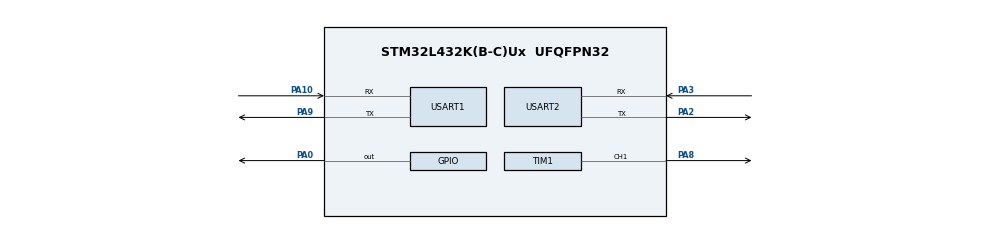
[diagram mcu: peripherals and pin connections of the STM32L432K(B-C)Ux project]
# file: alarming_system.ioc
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Mcu.Family=STM32L4
Mcu.Name=STM32L432K(B-C)Ux
Mcu.Package=UFQFPN32
NVIC.PriorityGroup=NVIC_PRIORITYGROUP_4
PA0.Signal=GPIO_Output
PA10.Mode=Asynchronous
PA10.Signal=USART1_RX
PA13\ (JTMS-SWDIO).Mode=Serial_Wire
PA13\ (JTMS-SWDIO).Signal=SYS_JTMS-SWDIO
PA14\ (JTCK-SWCLK).Mode=Serial_Wire
PA14\ (JTCK-SWCLK).Signal=SYS_JTCK-SWCLK
PA2.Mode=Asynchronous
PA2.Signal=USART2_TX
PA3.Mode=Asynchronous
PA3.Signal=USART2_RX
PA8.Signal=S_TIM1_CH1
PA9.Mode=Asynchronous
PA9.Signal=USART1_TX
PC14-OSC32_IN\ (PC14).Mode=LSE-External-Oscillator
PC14-OSC32_IN\ (PC14).Signal=RCC_OSC32_IN
PC15-OSC32_OUT\ (PC15).Mode=LSE-External-Oscillator
PC15-OSC32_OUT\ (PC15).Signal=RCC_OSC32_OUT
ProjectManager.HeapSize=0x200
ProjectManager.StackSize=0x400
ProjectManager.TargetToolchain=MDK-ARM V5.32
RCC.HSE_VALUE=8000000
RCC.HSI48_VALUE=48000000
RCC.HSI_VALUE=16000000
RCC.MSI_VALUE=4000000
RCC.VCOOutputFreq_Value=32000000
SH.S_TIM1_CH1.0=TIM1_CH1,PWM Generation1 CH1
TIM1.AutoReloadPreload=TIM_AUTORELOAD_PRELOAD_ENABLE
TIM1.Channel-PWM\ Generation1\ CH1=TIM_CHANNEL_1
TIM1.Period=100
TIM1.Prescaler=31
USART1.VirtualMode-Asynchronous=VM_ASYNC
USART2.VirtualMode-Asynchronous=VM_ASYNC
VP_TIM1_VS_ClockSourceINT.Mode=Internal
board=custom

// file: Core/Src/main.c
/* USER CODE BEGIN Header */
/**
  ******************************************************************************
  * @file           : main.c
  * @brief          : Main program body
  ******************************************************************************
  * @attention
  *
  * <h2><center>&copy; Copyright (c) 2022 STMicroelectronics.
  * All rights reserved.</center></h2>
  *
  * This software component is licensed by ST under BSD 3-Clause license,
  * the "License"; You may not use this file except in compliance with the
  * License. You may obtain a copy of the License at:
  *                        opensource.org/licenses/BSD-3-Clause
  *
  ******************************************************************************
  */
/* USER CODE END Header */
#include "main.h"

TIM_HandleTypeDef htim1;

UART_HandleTypeDef huart1;
UART_HandleTypeDef huart2;

void SystemClock_Config(void);
static void MX_GPIO_Init(void);
static void MX_TIM1_Init(void);
static void MX_USART1_UART_Init(void);
static void MX_USART2_UART_Init(void);

int main(void)
{

  /* MCU Configuration--------------------------------------------------------*/

  /* Reset of all peripherals, Initializes the Flash interface and the Systick. */
  HAL_Init();

  /* Configure the system clock */
  SystemClock_Config();

  /* Initialize all configured peripherals */
  MX_GPIO_Init();
  MX_TIM1_Init();
  MX_USART1_UART_Init();
  MX_USART2_UART_Init();
  /* USER CODE BEGIN 2 */

	// start the PWM signal generation on the intended timer channel
		HAL_TIM_PWM_Start(&htim1, TIM_CHANNEL_1);

	// set the Capture/Compare Register (CCR) for adjusting the pulse width (duty cycle)
		TIM1->CCR1 =50;
		TIM1->PSC= 0;
		uint8_t message[1]=" ";
		int counter=0;
  /* USER CODE END 2 */

  /* Infinite loop */
  /* USER CODE BEGIN WHILE */
  while (1)
  {

		HAL_UART_Receive(&huart1,message,sizeof(message),100);

		while (message[0]=='B'){
					TIM1->PSC= SystemCoreClock/((500*100-1));
					HAL_Delay(200);

					TIM1->PSC= SystemCoreClock/((820*100-1));
					HAL_Delay(200);
					counter++;
						//HAL_Delay(10000);
					if (counter==8)
						{
								message[0]=' ';
								TIM1->PSC= 0;
								counter=0;
						}
			}
		if (message[0]=='R'){
						HAL_GPIO_WritePin(GPIOA, GPIO_PIN_0, GPIO_PIN_SET);
						HAL_Delay(3000);
						HAL_GPIO_WritePin(GPIOA, GPIO_PIN_0, GPIO_PIN_RESET);
						message[0]=' ';
			}

		//HAL_UART_Transmit(&huart2,message,sizeof(message),100);
    /* USER CODE END WHILE */

  }
}

void SystemClock_Config(void)
{
  RCC_OscInitTypeDef RCC_OscInitStruct = {0};
  RCC_ClkInitTypeDef RCC_ClkInitStruct = {0};

  /** Configure the main internal regulator output voltage
  */
  if (HAL_PWREx_ControlVoltageScaling(PWR_REGULATOR_VOLTAGE_SCALE1) != HAL_OK)
  {
    Error_Handler();
  }
  /** Configure LSE Drive Capability
  */
  HAL_PWR_EnableBkUpAccess();
  __HAL_RCC_LSEDRIVE_CONFIG(RCC_LSEDRIVE_LOW);
  /** Initializes the RCC Oscillators according to the specified parameters
  * in the RCC_OscInitTypeDef structure.
  */
  RCC_OscInitStruct.OscillatorType = RCC_OSCILLATORTYPE_LSE|RCC_OSCILLATORTYPE_MSI;
  RCC_OscInitStruct.LSEState = RCC_LSE_ON;
  RCC_OscInitStruct.MSIState = RCC_MSI_ON;
  RCC_OscInitStruct.MSICalibrationValue = 0;
  RCC_OscInitStruct.MSIClockRange = RCC_MSIRANGE_6;
  RCC_OscInitStruct.PLL.PLLState = RCC_PLL_NONE;
  if (HAL_RCC_OscConfig(&RCC_OscInitStruct) != HAL_OK)
  {
    Error_Handler();
  }
  /** Initializes the CPU, AHB and APB buses clocks
  */
  RCC_ClkInitStruct.ClockType = RCC_CLOCKTYPE_HCLK|RCC_CLOCKTYPE_SYSCLK
                              |RCC_CLOCKTYPE_PCLK1|RCC_CLOCKTYPE_PCLK2;
  RCC_ClkInitStruct.SYSCLKSource = RCC_SYSCLKSOURCE_MSI;
  RCC_ClkInitStruct.AHBCLKDivider = RCC_SYSCLK_DIV1;
  RCC_ClkInitStruct.APB1CLKDivider = RCC_HCLK_DIV1;
  RCC_ClkInitStruct.APB2CLKDivider = RCC_HCLK_DIV1;

  if (HAL_RCC_ClockConfig(&RCC_ClkInitStruct, FLASH_LATENCY_0) != HAL_OK)
  {
    Error_Handler();
  }
  /** Enable MSI Auto calibration
  */
  HAL_RCCEx_EnableMSIPLLMode();
}

static void MX_TIM1_Init(void)
{

  TIM_ClockConfigTypeDef sClockSourceConfig = {0};
  TIM_MasterConfigTypeDef sMasterConfig = {0};
  TIM_OC_InitTypeDef sConfigOC = {0};
  TIM_BreakDeadTimeConfigTypeDef sBreakDeadTimeConfig = {0};

  htim1.Instance = TIM1;
  htim1.Init.Prescaler = 31;
  htim1.Init.CounterMode = TIM_COUNTERMODE_UP;
  htim1.Init.Period = 100;
  htim1.Init.ClockDivision = TIM_CLOCKDIVISION_DIV1;
  htim1.Init.RepetitionCounter = 0;
  htim1.Init.AutoReloadPreload = TIM_AUTORELOAD_PRELOAD_ENABLE;
  if (HAL_TIM_Base_Init(&htim1) != HAL_OK)
  {
    Error_Handler();
  }
  sClockSourceConfig.ClockSource = TIM_CLOCKSOURCE_INTERNAL;
  if (HAL_TIM_ConfigClockSource(&htim1, &sClockSourceConfig) != HAL_OK)
  {
    Error_Handler();
  }
  if (HAL_TIM_PWM_Init(&htim1) != HAL_OK)
  {
    Error_Handler();
  }
  sMasterConfig.MasterOutputTrigger = TIM_TRGO_RESET;
  sMasterConfig.MasterOutputTrigger2 = TIM_TRGO2_RESET;
  sMasterConfig.MasterSlaveMode = TIM_MASTERSLAVEMODE_DISABLE;
  if (HAL_TIMEx_MasterConfigSynchronization(&htim1, &sMasterConfig) != HAL_OK)
  {
    Error_Handler();
  }
  sConfigOC.OCMode = TIM_OCMODE_PWM1;
  sConfigOC.Pulse = 0;
  sConfigOC.OCPolarity = TIM_OCPOLARITY_HIGH;
  sConfigOC.OCNPolarity = TIM_OCNPOLARITY_HIGH;
  sConfigOC.OCFastMode = TIM_OCFAST_DISABLE;
  sConfigOC.OCIdleState = TIM_OCIDLESTATE_RESET;
  sConfigOC.OCNIdleState = TIM_OCNIDLESTATE_RESET;
  if (HAL_TIM_PWM_ConfigChannel(&htim1, &sConfigOC, TIM_CHANNEL_1) != HAL_OK)
  {
    Error_Handler();
  }
  sBreakDeadTimeConfig.OffStateRunMode = TIM_OSSR_DISABLE;
  sBreakDeadTimeConfig.OffStateIDLEMode = TIM_OSSI_DISABLE;
  sBreakDeadTimeConfig.LockLevel = TIM_LOCKLEVEL_OFF;
  sBreakDeadTimeConfig.DeadTime = 0;
  sBreakDeadTimeConfig.BreakState = TIM_BREAK_DISABLE;
  sBreakDeadTimeConfig.BreakPolarity = TIM_BREAKPOLARITY_HIGH;
  sBreakDeadTimeConfig.BreakFilter = 0;
  sBreakDeadTimeConfig.Break2State = TIM_BREAK2_DISABLE;
  sBreakDeadTimeConfig.Break2Polarity = TIM_BREAK2POLARITY_HIGH;
  sBreakDeadTimeConfig.Break2Filter = 0;
  sBreakDeadTimeConfig.AutomaticOutput = TIM_AUTOMATICOUTPUT_DISABLE;
  if (HAL_TIMEx_ConfigBreakDeadTime(&htim1, &sBreakDeadTimeConfig) != HAL_OK)
  {
    Error_Handler();
  }
  HAL_TIM_MspPostInit(&htim1);

}

static void MX_USART1_UART_Init(void)
{

  huart1.Instance = USART1;
  huart1.Init.BaudRate = 115200;
  huart1.Init.WordLength = UART_WORDLENGTH_8B;
  huart1.Init.StopBits = UART_STOPBITS_1;
  huart1.Init.Parity = UART_PARITY_NONE;
  huart1.Init.Mode = UART_MODE_TX_RX;
  huart1.Init.HwFlowCtl = UART_HWCONTROL_NONE;
  huart1.Init.OverSampling = UART_OVERSAMPLING_16;
  huart1.Init.OneBitSampling = UART_ONE_BIT_SAMPLE_DISABLE;
  huart1.AdvancedInit.AdvFeatureInit = UART_ADVFEATURE_NO_INIT;
  if (HAL_UART_Init(&huart1) != HAL_OK)
  {
    Error_Handler();
  }

}

static void MX_USART2_UART_Init(void)
{

  huart2.Instance = USART2;
  huart2.Init.BaudRate = 115200;
  huart2.Init.WordLength = UART_WORDLENGTH_8B;
  huart2.Init.StopBits = UART_STOPBITS_1;
  huart2.Init.Parity = UART_PARITY_NONE;
  huart2.Init.Mode = UART_MODE_TX_RX;
  huart2.Init.HwFlowCtl = UART_HWCONTROL_NONE;
  huart2.Init.OverSampling = UART_OVERSAMPLING_16;
  huart2.Init.OneBitSampling = UART_ONE_BIT_SAMPLE_DISABLE;
  huart2.AdvancedInit.AdvFeatureInit = UART_ADVFEATURE_NO_INIT;
  if (HAL_UART_Init(&huart2) != HAL_OK)
  {
    Error_Handler();
  }

}

static void MX_GPIO_Init(void)
{
  GPIO_InitTypeDef GPIO_InitStruct = {0};

  /* GPIO Ports Clock Enable */
  __HAL_RCC_GPIOC_CLK_ENABLE();
  __HAL_RCC_GPIOA_CLK_ENABLE();

  /*Configure GPIO pin Output Level */
  HAL_GPIO_WritePin(GPIOA, GPIO_PIN_0, GPIO_PIN_RESET);

  /*Configure GPIO pin : PA0 */
  GPIO_InitStruct.Pin = GPIO_PIN_0;
  GPIO_InitStruct.Mode = GPIO_MODE_OUTPUT_PP;
  GPIO_InitStruct.Pull = GPIO_NOPULL;
  GPIO_InitStruct.Speed = GPIO_SPEED_FREQ_LOW;
  HAL_GPIO_Init(GPIOA, &GPIO_InitStruct);

}

void Error_Handler(void)
{
  __disable_irq();
  while (1)
  {
  }
}

/************************ (C) COPYRIGHT STMicroelectronics *****END OF FILE****/
